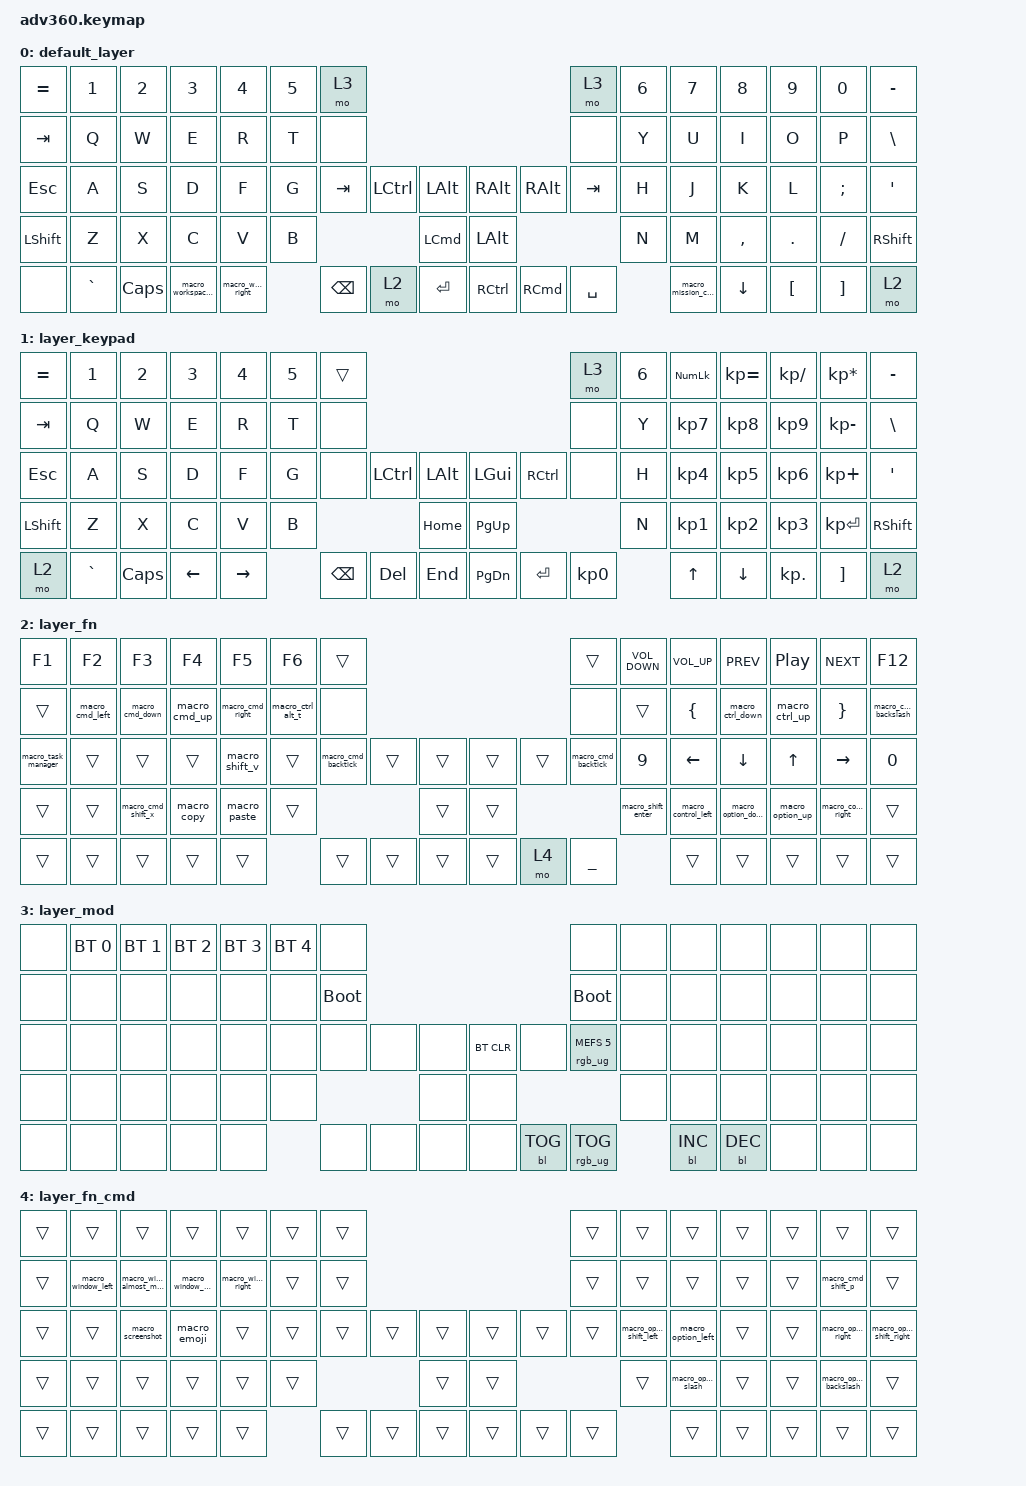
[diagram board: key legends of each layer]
/*
 * Copyright (c) 2020 The ZMK Contributors
 *
 * SPDX-License-Identifier: MIT
 */
/* THIS FILE WAS GENERATED!
 *
 * This file was generated automatically. You may or may not want to
 * edit it directly.
 */

#include <behaviors.dtsi>
#include <dt-bindings/zmk/backlight.h>
#include <dt-bindings/zmk/bt.h>
#include <dt-bindings/zmk/keys.h>
#include <dt-bindings/zmk/rgb.h>

/ {
    behaviors {
        #include "macros.dtsi"
    #include "version.dtsi"

        hm: homerow_mods {
            compatible = "zmk,behavior-hold-tap";
            label = "HOMEROW_MODS";
            #binding-cells = <2>;
            tapping-term-ms = <200>;
            quick_tap_ms = <175>;
            flavor = "tap-preferred";
            bindings = <&kp>, <&kp>;
        };
    };

    macros {
        macro_cmd_backtick: macro_cmd_backtick {
            compatible = "zmk,behavior-macro";
            label = "macro_cmd_backtick";
            #binding-cells = <0>;
            bindings =
                <&macro_press>,
                <&kp LCMD>,
                <&macro_tap>,
                <&kp GRAVE>,
                <&macro_release>,
                <&kp LCMD>;
        };

        macro_task_manager: macro_task_manager {
            compatible = "zmk,behavior-macro";
            label = "macro_task_manager";
            #binding-cells = <0>;
            bindings =
                <&macro_press>,
                <&kp LCMD>,
                <&macro_press>,
                <&kp LEFT_ALT>,
                <&macro_tap>,
                <&kp ESC>,
                <&macro_release>,
                <&kp LEFT_ALT>,
                <&macro_release>,
                <&kp LCMD>;
        };

        macro_cmd_up: macro_cmd_up {
            compatible = "zmk,behavior-macro";
            label = "macro_cmd_up";
            #binding-cells = <0>;
            bindings =
                <&macro_press>,
                <&kp LCMD>,
                <&macro_tap>,
                <&kp UP>,
                <&macro_release>,
                <&kp LCMD>;
        };

        macro_cmd_down: macro_cmd_down {
            compatible = "zmk,behavior-macro";
            label = "macro_cmd_down";
            #binding-cells = <0>;
            bindings =
                <&macro_press>,
                <&kp LCMD>,
                <&macro_tap>,
                <&kp DOWN>,
                <&macro_release>,
                <&kp LCMD>;
        };

        macro_cmd_left: macro_cmd_left {
            compatible = "zmk,behavior-macro";
            label = "macro_cmd_left";
            #binding-cells = <0>;
            bindings =
                <&macro_press>,
                <&kp LCMD>,
                <&macro_tap>,
                <&kp LEFT>,
                <&macro_release>,
                <&kp LCMD>;
        };

        macro_cmd_right: macro_cmd_right {
            compatible = "zmk,behavior-macro";
            label = "macro_cmd_right";
            #binding-cells = <0>;
            bindings =
                <&macro_press>,
                <&kp LCMD>,
                <&macro_tap>,
                <&kp RIGHT>,
                <&macro_release>,
                <&kp LCMD>;
        };

        macro_cmd_shift_x: macro_cmd_shift_x {
            compatible = "zmk,behavior-macro";
            label = "macro_cmd_shift_x";
            #binding-cells = <0>;
            bindings =
                <&macro_press>,
                <&kp LCMD>,
                <&macro_press>,
                <&kp LEFT_SHIFT>,
                <&macro_tap>,
                <&kp X>,
                <&macro_release>,
                <&kp LEFT_SHIFT>,
                <&macro_release>,
                <&kp LCMD>;
        };

        macro_ctrl_alt_t: macro_ctrl_alt_t {
            compatible = "zmk,behavior-macro";
            label = "macro_ctrl_alt_t";
            #binding-cells = <0>;
            bindings =
                <&macro_press>,
                <&kp LCTRL>,
                <&macro_press>,
                <&kp LEFT_ALT>,
                <&macro_tap>,
                <&kp T>,
                <&macro_release>,
                <&kp LEFT_ALT>,
                <&macro_release>,
                <&kp LCTRL>;
        };

        macro_emoji: macro_emoji {
            compatible = "zmk,behavior-macro";
            label = "macro_emoji";
            #binding-cells = <0>;
            bindings =
                <&macro_press>,
                <&kp LCTRL>,
                <&macro_press>,
                <&kp LCMD>,
                <&macro_tap>,
                <&kp SPACE>,
                <&macro_release>,
                <&kp LCMD>,
                <&macro_release>,
                <&kp LCTRL>;
        };

        macro_window_almost_max: macro_window_almost_max {
            compatible = "zmk,behavior-macro";
            label = "macro_window_almost_max";
            #binding-cells = <0>;
            bindings =
                <&macro_press>,
                <&kp LCTRL>,
                <&macro_press>,
                <&kp LCMD>,
                <&macro_tap>,
                <&kp BACKSPACE>,
                <&macro_release>,
                <&kp LCMD>,
                <&macro_release>,
                <&kp LCTRL>;
        };

        macro_window_max: macro_window_max {
            compatible = "zmk,behavior-macro";
            label = "macro_window_max";
            #binding-cells = <0>;
            bindings =
                <&macro_press>,
                <&kp LCTRL>,
                <&macro_press>,
                <&kp LCMD>,
                <&macro_tap>,
                <&kp ENTER>,
                <&macro_release>,
                <&kp LCMD>,
                <&macro_release>,
                <&kp LCTRL>;
        };

        macro_window_central: macro_window_central {
            compatible = "zmk,behavior-macro";
            label = "macro_window_central";
            #binding-cells = <0>;
            bindings =
                <&macro_press>,
                <&kp LCTRL>,
                <&macro_press>,
                <&kp LCMD>,
                <&macro_tap>,
                <&kp C>,
                <&macro_release>,
                <&kp LCMD>,
                <&macro_release>,
                <&kp LCTRL>;
        };

        macro_window_down: macro_window_down {
            compatible = "zmk,behavior-macro";
            label = "macro_window_down";
            #binding-cells = <0>;
            bindings =
                <&macro_press>,
                <&kp LCTRL>,
                <&macro_press>,
                <&kp LCMD>,
                <&macro_tap>,
                <&kp DOWN>,
                <&macro_release>,
                <&kp LCMD>,
                <&macro_release>,
                <&kp LCTRL>;
        };

        macro_window_up: macro_window_up {
            compatible = "zmk,behavior-macro";
            label = "macro_window_up";
            #binding-cells = <0>;
            bindings =
                <&macro_press>,
                <&kp LCTRL>,
                <&macro_press>,
                <&kp LCMD>,
                <&macro_tap>,
                <&kp UP>,
                <&macro_release>,
                <&kp LCMD>,
                <&macro_release>,
                <&kp LCTRL>;
        };

        macro_window_right: macro_window_right {
            compatible = "zmk,behavior-macro";
            label = "macro_window_right";
            #binding-cells = <0>;
            bindings =
                <&macro_press>,
                <&kp LCTRL>,
                <&macro_press>,
                <&kp LCMD>,
                <&macro_tap>,
                <&kp RIGHT>,
                <&macro_release>,
                <&kp LCMD>,
                <&macro_release>,
                <&kp LCTRL>;
        };

        macro_window_left: macro_window_left {
            compatible = "zmk,behavior-macro";
            label = "macro_window_left";
            #binding-cells = <0>;
            bindings =
                <&macro_press>,
                <&kp LCTRL>,
                <&macro_press>,
                <&kp LCMD>,
                <&macro_tap>,
                <&kp LEFT>,
                <&macro_release>,
                <&kp LCMD>,
                <&macro_release>,
                <&kp LCTRL>;
        };

        macro_option_right: macro_option_right {
            compatible = "zmk,behavior-macro";
            label = "macro_option_right";
            #binding-cells = <0>;
            bindings =
                <&macro_press>,
                <&kp LEFT_ALT>,
                <&macro_tap>,
                <&kp RIGHT>,
                <&macro_release>,
                <&kp LEFT_ALT>;
        };

        macro_option_left: macro_option_left {
            compatible = "zmk,behavior-macro";
            label = "macro_option_left";
            #binding-cells = <0>;
            bindings =
                <&macro_press>,
                <&kp LEFT_ALT>,
                <&macro_tap>,
                <&kp LEFT>,
                <&macro_release>,
                <&kp LEFT_ALT>;
        };

        macro_option_shift_right: macro_option_shift_right {
            compatible = "zmk,behavior-macro";
            label = "macro_option_shift_right";
            #binding-cells = <0>;
            bindings =
                <&macro_press>,
                <&kp LEFT_ALT>,
                <&macro_press>,
                <&kp LEFT_SHIFT>,
                <&macro_tap>,
                <&kp RIGHT>,
                <&macro_release>,
                <&kp LEFT_SHIFT>,
                <&macro_release>,
                <&kp LEFT_ALT>;
        };

        macro_option_shift_left: macro_option_shift_left {
            compatible = "zmk,behavior-macro";
            label = "macro_option_shift_left";
            #binding-cells = <0>;
            bindings =
                <&macro_press>,
                <&kp LEFT_ALT>,
                <&macro_press>,
                <&kp LEFT_SHIFT>,
                <&macro_tap>,
                <&kp LEFT>,
                <&macro_release>,
                <&kp LEFT_SHIFT>,
                <&macro_release>,
                <&kp LEFT_ALT>;
        };

        macro_cmd_shift_p: macro_cmd_shift_p {
            compatible = "zmk,behavior-macro";
            label = "macro_cmd_shift_p";
            #binding-cells = <0>;
            bindings =
                <&macro_press>,
                <&kp RCMD>,
                <&macro_press>,
                <&kp LEFT_SHIFT>,
                <&macro_tap>,
                <&kp P>,
                <&macro_release>,
                <&kp LEFT_SHIFT>,
                <&macro_release>,
                <&kp RCMD>;
        };

        macro_copy: macro_copy {
            compatible = "zmk,behavior-macro";
            label = "macro_copy";
            #binding-cells = <0>;
            bindings =
                <&macro_press>,
                <&kp LCMD>,
                <&macro_tap>,
                <&kp C>,
                <&macro_release>,
                <&kp LCMD>;
        };

        macro_paste: macro_paste {
            compatible = "zmk,behavior-macro";
            label = "macro_paste";
            #binding-cells = <0>;
            bindings =
                <&macro_press>,
                <&kp LCMD>,
                <&macro_tap>,
                <&kp V>,
                <&macro_release>,
                <&kp LCMD>;
        };

        macro_cmd_shift_r: macro_cmd_shift_r {
            compatible = "zmk,behavior-macro";
            label = "macro_cmd_shift_r";
            #binding-cells = <0>;
            bindings =
                <&macro_press>,
                <&kp LCMD>,
                <&macro_press>,
                <&kp LEFT_SHIFT>,
                <&macro_tap>,
                <&kp R>,
                <&macro_release>,
                <&kp LEFT_SHIFT>,
                <&macro_release>,
                <&kp LCMD>;
        };

        macro_cmd_shift_backslash: macro_cmd_shift_backslash {
            compatible = "zmk,behavior-macro";
            label = "macro_cmd_shift_backslash";
            #binding-cells = <0>;
            bindings =
                <&macro_press>,
                <&kp LCMD>,
                <&macro_press>,
                <&kp LEFT_SHIFT>,
                <&macro_tap>,
                <&kp BACKSLASH>,
                <&macro_release>,
                <&kp LEFT_SHIFT>,
                <&macro_release>,
                <&kp LCMD>;
        };

        macro_shift_v: macro_shift_v {
            compatible = "zmk,behavior-macro";
            label = "macro_shift_v";
            #binding-cells = <0>;
            bindings =
                <&macro_press>,
                <&kp LEFT_SHIFT>,
                <&macro_tap>,
                <&kp V>,
                <&macro_release>,
                <&kp LEFT_SHIFT>;
        };

        macro_screenshot: macro_screenshot {
            compatible = "zmk,behavior-macro";
            label = "macro_screenshot";
            #binding-cells = <0>;
            bindings =
                <&macro_press>,
                <&kp LCTRL>,
                <&macro_press>,
                <&kp LEFT_SHIFT>,
                <&macro_press>,
                <&kp LCMD>,
                <&macro_tap>,
                <&kp NUMBER_4>,
                <&macro_release>,
                <&kp LCMD>,
                <&macro_release>,
                <&kp LEFT_SHIFT>,
                <&macro_release>,
                <&kp LCTRL>;
        };

        macro_shift_enter: macro_shift_enter {
            compatible = "zmk,behavior-macro";
            label = "macro_shift_enter";
            #binding-cells = <0>;
            bindings =
                <&macro_press>,
                <&kp LEFT_SHIFT>,
                <&macro_tap>,
                <&kp ENTER>,
                <&macro_release>,
                <&kp LEFT_SHIFT>;
        };

        macro_option_slash: macro_option_slash {
            compatible = "zmk,behavior-macro";
            label = "macro_option_slash";
            #binding-cells = <0>;
            bindings =
                <&macro_press>,
                <&kp LEFT_ALT>,
                <&macro_tap>,
                <&kp SLASH>,
                <&macro_release>,
                <&kp LEFT_ALT>;
        };

        macro_option_backslash: macro_option_backslash {
            compatible = "zmk,behavior-macro";
            label = "macro_option_backslash";
            #binding-cells = <0>;
            bindings =
                <&macro_press>,
                <&kp LEFT_ALT>,
                <&macro_tap>,
                <&kp BACKSLASH>,
                <&macro_release>,
                <&kp LEFT_ALT>;
        };

        macro_control_right: macro_control_right {
            compatible = "zmk,behavior-macro";
            label = "macro_control_right";
            #binding-cells = <0>;
            bindings =
                <&macro_press>,
                <&kp LCTRL>,
                <&macro_tap>,
                <&kp RIGHT>,
                <&macro_release>,
                <&kp LCTRL>;
        };

        macro_control_left: macro_control_left {
            compatible = "zmk,behavior-macro";
            label = "macro_control_left";
            #binding-cells = <0>;
            bindings =
                <&macro_press>,
                <&kp LCTRL>,
                <&macro_tap>,
                <&kp LEFT>,
                <&macro_release>,
                <&kp LCTRL>;
        };

        macro_option_up: macro_option_up {
            compatible = "zmk,behavior-macro";
            label = "macro_option_up";
            #binding-cells = <0>;
            bindings =
                <&macro_press>,
                <&kp LEFT_ALT>,
                <&macro_tap>,
                <&kp UP>,
                <&macro_release>,
                <&kp LEFT_ALT>;
        };

        macro_option_down: macro_option_down {
            compatible = "zmk,behavior-macro";
            label = "macro_option_down";
            #binding-cells = <0>;
            bindings =
                <&macro_press>,
                <&kp LEFT_ALT>,
                <&macro_tap>,
                <&kp DOWN>,
                <&macro_release>,
                <&kp LEFT_ALT>;
        };

        macro_ctrl_up: macro_ctrl_up {
            compatible = "zmk,behavior-macro";
            label = "macro_ctrl_up";
            #binding-cells = <0>;
            bindings =
                <&macro_press>,
                <&kp LCTRL>,
                <&macro_tap>,
                <&kp U>,
                <&macro_release>,
                <&kp LCTRL>;
        };

        macro_ctrl_down: macro_ctrl_down {
            compatible = "zmk,behavior-macro";
            label = "macro_ctrl_down";
            #binding-cells = <0>;
            bindings =
                <&macro_press>,
                <&kp LCTRL>,
                <&macro_tap>,
                <&kp D>,
                <&macro_release>,
                <&kp LCTRL>;
        };

        macro_workspace_right: macro_workspace_right {
            compatible = "zmk,behavior-macro";
            label = "macro_workspace_right";
            #binding-cells = <0>;
            bindings =
                <&macro_press>,
                <&kp LCTRL>,
                <&macro_press>,
                <&kp LEFT_ALT>,
                <&macro_tap>,
                <&kp RIGHT>,
                <&macro_release>,
                <&kp LEFT_ALT>,
                <&macro_release>,
                <&kp LCTRL>;
        };

        macro_workspace_left: macro_workspace_left {
            compatible = "zmk,behavior-macro";
            label = "macro_workspace_left";
            #binding-cells = <0>;
            bindings =
                <&macro_press>,
                <&kp LCTRL>,
                <&macro_press>,
                <&kp LEFT_ALT>,
                <&macro_tap>,
                <&kp LEFT>,
                <&macro_release>,
                <&kp LEFT_ALT>,
                <&macro_release>,
                <&kp LCTRL>;
        };

        macro_mission_ctrl: macro_mission_ctrl {
            compatible = "zmk,behavior-macro";
            label = "macro_mission_ctrl";
            #binding-cells = <0>;
            bindings =
                <&macro_press>,
                <&kp LCTRL>,
                <&macro_press>,
                <&kp LEFT_ALT>,
                <&macro_tap>,
                <&kp UP>,
                <&macro_release>,
                <&kp LEFT_ALT>,
                <&macro_release>,
                <&kp LCTRL>;
        };

        cmd_g: alt_g {
            compatible = "zmk,behavior-macro";
            #binding-cells = <0>;
            bindings =
                <&macro_press>,
                <&kp LEFT_COMMAND>,
                <&macro_tap>,
                <&kp G>,
                <&macro_release>,
                <&kp LEFT_COMMAND>;

            label = "ALT_G";
        };
    };

    keymap {
        compatible = "zmk,keymap";

        default_layer {
            bindings = <
&kp EQUAL  &kp N1     &kp N2    &kp N3                 &kp N4                  &kp N5  &mo 3                                                                         &mo 3      &kp N6  &kp N7               &kp N8     &kp N9    &kp N0    &kp MINUS
&kp TAB    &kp Q      &kp W     &kp E                  &kp R                   &kp T   &none                                                                         &none      &kp Y   &kp U                &kp I      &kp O     &kp P     &kp BSLH
&kp ESC    &kp A      &kp S     &kp D                  &kp F                   &kp G   &kp TAB        &kp LCTRL  &kp LEFT_ALT      &kp RIGHT_ALT      &kp RIGHT_ALT  &kp TAB    &kp H   &kp J                &kp K      &kp L     &kp SEMI  &kp SQT
&kp LSHFT  &kp Z      &kp X     &kp C                  &kp V                   &kp B                             &kp LCMD          &kp LEFT_ALT                                 &kp N   &kp M                &kp COMMA  &kp DOT   &kp FSLH  &kp RSHFT
&none      &kp GRAVE  &kp CAPS  &macro_workspace_left  &macro_workspace_right          &kp BACKSPACE  &mo 2      &kp RETURN        &kp RIGHT_CONTROL  &kp RCMD       &kp SPACE          &macro_mission_ctrl  &kp DOWN   &kp LBKT  &kp RBKT  &mo 2
            >;
        };

        layer_keypad {
            bindings = <
&kp EQUAL  &kp N1     &kp N2    &kp N3    &kp N4     &kp N5  &trans                                                   &mo 3      &kp N6  &kp KP_NUM  &kp KP_EQUAL  &kp KP_DIVIDE  &kp KP_MULTIPLY  &kp MINUS
&kp TAB    &kp Q      &kp W     &kp E     &kp R      &kp T   &none                                                    &none      &kp Y   &kp KP_N7   &kp KP_N8     &kp KP_N9      &kp KP_MINUS     &kp BSLH
&kp ESC    &kp A      &kp S     &kp D     &kp F      &kp G   &none     &kp LCTRL  &kp LALT      &kp LGUI   &kp RCTRL  &none      &kp H   &kp KP_N4   &kp KP_N5     &kp KP_N6      &kp KP_PLUS      &kp SQT
&kp LSHFT  &kp Z      &kp X     &kp C     &kp V      &kp B                        &kp HOME      &kp PG_UP                        &kp N   &kp KP_N1   &kp KP_N2     &kp KP_N3      &kp KP_ENTER     &kp RSHFT
&mo 2      &kp GRAVE  &kp CAPS  &kp LEFT  &kp RIGHT          &kp BSPC  &kp DEL    &kp END       &kp PG_DN  &kp ENTER  &kp KP_N0          &kp UP      &kp DOWN      &kp KP_DOT     &kp RBKT         &mo 2
            >;
        };

        layer_fn {
            bindings = <
&kp F1               &kp F2           &kp F3              &kp F4         &kp F5            &kp F6             &trans                                                   &trans               &kp C_VOLUME_DOWN   &kp C_VOLUME_UP      &kp C_PREV          &kp C_PLAY_PAUSE  &kp C_NEXT            &kp F12
&trans               &macro_cmd_left  &macro_cmd_down     &macro_cmd_up  &macro_cmd_right  &macro_ctrl_alt_t  &none                                                    &none                &trans              &kp LEFT_BRACE       &macro_ctrl_down    &macro_ctrl_up    &kp RIGHT_BRACE       &macro_cmd_shift_backslash
&macro_task_manager  &trans           &trans              &trans         &macro_shift_v    &trans             &macro_cmd_backtick  &trans  &trans      &trans  &trans  &macro_cmd_backtick  &kp NUMBER_9        &kp LEFT             &kp DOWN            &kp UP            &kp RIGHT             &kp NUMBER_0
&trans               &trans           &macro_cmd_shift_x  &macro_copy    &macro_paste      &trans                                          &trans      &trans                               &macro_shift_enter  &macro_control_left  &macro_option_down  &macro_option_up  &macro_control_right  &trans
&trans               &trans           &trans              &trans         &trans                               &trans               &trans  &trans      &trans  &mo 4   &kp UNDERSCORE                           &trans               &trans              &trans            &trans                &trans
            >;
        };

        layer_mod {
            bindings = <
&none  &bt BT_SEL 0  &bt BT_SEL 1  &bt BT_SEL 2  &bt BT_SEL 3  &bt BT_SEL 4  &none                                                  &none                   &none  &none       &none       &none  &none  &none
&none  &none         &none         &none         &none         &none         &bootloader                                            &bootloader             &none  &none       &none       &none  &none  &none
&none  &none         &none         &none         &none         &none         &none        &none  &none      &bt BT_CLR  &none       &rgb_ug RGB_MEFS_CMD 5  &none  &none       &none       &none  &none  &none
&none  &none         &none         &none         &none         &none                             &none      &none                                           &none  &none       &none       &none  &none  &none
&none  &none         &none         &none         &none                       &none        &none  &none      &none       &bl BL_TOG  &rgb_ug RGB_TOG                &bl BL_INC  &bl BL_DEC  &none  &none  &none
            >;
        };

        layer_fn_cmd {
            bindings = <
&trans  &trans              &trans                    &trans             &trans               &trans  &trans                                      &trans  &trans                    &trans               &trans  &trans  &trans                   &trans
&trans  &macro_window_left  &macro_window_almost_max  &macro_window_max  &macro_window_right  &trans  &trans                                      &trans  &trans                    &trans               &trans  &trans  &macro_cmd_shift_p       &trans
&trans  &trans              &macro_screenshot         &macro_emoji       &trans               &trans  &trans  &trans  &trans      &trans  &trans  &trans  &macro_option_shift_left  &macro_option_left   &trans  &trans  &macro_option_right      &macro_option_shift_right
&trans  &trans              &trans                    &trans             &trans               &trans                  &trans      &trans                  &trans                    &macro_option_slash  &trans  &trans  &macro_option_backslash  &trans
&trans  &trans              &trans                    &trans             &trans                       &trans  &trans  &trans      &trans  &trans  &trans                            &trans               &trans  &trans  &trans                   &trans
            >;
        };
    };
};
